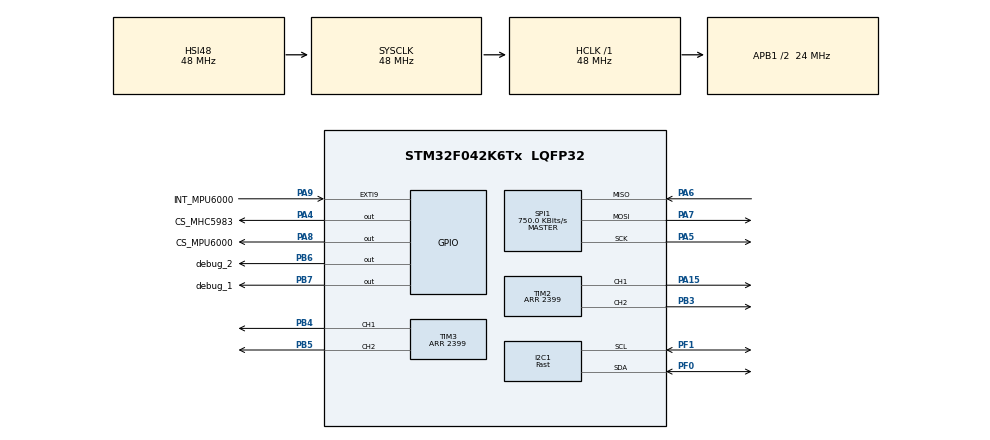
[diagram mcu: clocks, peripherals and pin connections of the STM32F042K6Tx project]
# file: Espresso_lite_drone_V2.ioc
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I2C1.GeneralCallMode=I2C_GENERALCALL_ENABLED
I2C1.I2C_Speed_Mode=I2C_Fast
I2C1.OwnAddress=55
I2C1.Speed=350
I2C1.Timing=0x0000050B
Mcu.Family=STM32F0
Mcu.Name=STM32F042K6Tx
Mcu.Package=LQFP32
NVIC.EXTI4_15_IRQn=true\:2\:0\:true
NVIC.I2C1_IRQn=true\:1\:0\:true
PA13.Mode=Serial-WireDebug
PA13.Signal=SYS_SWDIO
PA14.Mode=Serial-WireDebug
PA14.Signal=SYS_SWCLK
PA15.Signal=S_TIM2_CH1_ETR
PA4.GPIO_Label=CS_MHC5983
PA4.Signal=GPIO_Output
PA5.Mode=Full_Duplex_Master
PA5.Signal=SPI1_SCK
PA6.Mode=Full_Duplex_Master
PA6.Signal=SPI1_MISO
PA7.Mode=Full_Duplex_Master
PA7.Signal=SPI1_MOSI
PA8.GPIO_Label=CS_MPU6000
PA8.Signal=GPIO_Output
PA9.GPIO_Label=INT_MPU6000
PA9.GPIO_PuPd=GPIO_PULLUP
PA9.Signal=GPXTI9
PB3.Signal=S_TIM2_CH2
PB4.Signal=S_TIM3_CH1
PB5.Signal=S_TIM3_CH2
PB6.GPIO_Label=debug_2
PB6.Signal=GPIO_Output
PB7.GPIO_Label=debug_1
PB7.Signal=GPIO_Output
PF0-OSC_IN.Mode=I2C
PF0-OSC_IN.Signal=I2C1_SDA
PF1-OSC_OUT.Mode=I2C
PF1-OSC_OUT.Signal=I2C1_SCL
ProjectManager.HeapSize=0x400
ProjectManager.StackSize=0x200
ProjectManager.TargetToolchain=MDK-ARM V5
RCC.AHBFreq_Value=48000000
RCC.APB1CLKDivider=RCC_HCLK_DIV2
RCC.APB1Freq_Value=24000000
RCC.APB1TimFreq_Value=48000000
RCC.HCLKFreq_Value=48000000
RCC.SYSCLKFreq_VALUE=48000000
RCC.SYSCLKSource=RCC_SYSCLKSOURCE_HSI48
SH.S_TIM2_CH1_ETR.0=TIM2_CH1,PWM Generation1 CH1
SH.S_TIM2_CH2.0=TIM2_CH2,PWM Generation2 CH2
SH.S_TIM3_CH1.0=TIM3_CH1,PWM Generation1 CH1
SH.S_TIM3_CH2.0=TIM3_CH2,PWM Generation2 CH2
SPI1.BaudRatePrescaler=SPI_BAUDRATEPRESCALER_32
SPI1.CLKPhase=SPI_PHASE_2EDGE
SPI1.CLKPolarity=SPI_POLARITY_HIGH
SPI1.CalculateBaudRate=750.0 KBits/s
SPI1.DataSize=SPI_DATASIZE_8BIT
SPI1.Mode=SPI_MODE_MASTER
TIM2.Channel-PWM\ Generation2\ CH2=TIM_CHANNEL_2
TIM2.Period=2399
TIM3.Channel-PWM\ Generation2\ CH2=TIM_CHANNEL_2
TIM3.Period=2399
board=Espresso_lite_drone_V2

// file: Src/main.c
/**
  ******************************************************************************
  * File Name          : main.c
  * Description        : Main program body
  ******************************************************************************
  *
  * COPYRIGHT(c) 2016 STMicroelectronics
  *
  * Redistribution and use in source and binary forms, with or without modification,
  * are permitted provided that the following conditions are met:
  *   1. Redistributions of source code must retain the above copyright notice,
  *      this list of conditions and the following disclaimer.
  *   2. Redistributions in binary form must reproduce the above copyright notice,
  *      this list of conditions and the following disclaimer in the documentation
  *      and/or other materials provided with the distribution.
  *   3. Neither the name of STMicroelectronics nor the names of its contributors
  *      may be used to endorse or promote products derived from this software
  *      without specific prior written permission.
  *
  * THIS SOFTWARE IS PROVIDED BY THE COPYRIGHT HOLDERS AND CONTRIBUTORS "AS IS"
  * AND ANY EXPRESS OR IMPLIED WARRANTIES, INCLUDING, BUT NOT LIMITED TO, THE
  * IMPLIED WARRANTIES OF MERCHANTABILITY AND FITNESS FOR A PARTICULAR PURPOSE ARE
  * DISCLAIMED. IN NO EVENT SHALL THE COPYRIGHT HOLDER OR CONTRIBUTORS BE LIABLE
  * FOR ANY DIRECT, INDIRECT, INCIDENTAL, SPECIAL, EXEMPLARY, OR CONSEQUENTIAL
  * DAMAGES (INCLUDING, BUT NOT LIMITED TO, PROCUREMENT OF SUBSTITUTE GOODS OR
  * SERVICES; LOSS OF USE, DATA, OR PROFITS; OR BUSINESS INTERRUPTION) HOWEVER
  * CAUSED AND ON ANY THEORY OF LIABILITY, WHETHER IN CONTRACT, STRICT LIABILITY,
  * OR TORT (INCLUDING NEGLIGENCE OR OTHERWISE) ARISING IN ANY WAY OUT OF THE USE
  * OF THIS SOFTWARE, EVEN IF ADVISED OF THE POSSIBILITY OF SUCH DAMAGE.
  *
  ******************************************************************************
  */
#include "stm32f0xx_hal.h"

/* USER CODE BEGIN Includes */

// choose model drone
#define V929

// choose only one "MadgwickAHRS" or "MahonyAHRS"
//#define MadgwickAHRS
#define MahonyAHRS

#define ACCELEROMETER_SENSITIVITY   8192.0f
#define GYROSCOPE_SENSITIVITY       16.4f
#define Compass_SENSITIVITY       	1090.0f
#define M_PIf       								3.14159265358979323846f
#define M_PI                        M_PIf
#define sampleFreq                  250.0f     			    // 200 hz sample rate!
#define limmit_I                    300.0f

#define roll_offset    0.0f
#define pitch_offset   0.0f

#define debug_1_set		HAL_GPIO_WritePin(debug_1_GPIO_Port, debug_1_Pin, GPIO_PIN_SET)
#define debug_1_reset HAL_GPIO_WritePin(debug_1_GPIO_Port, debug_1_Pin, GPIO_PIN_RESET)
#define debug_2_set   HAL_GPIO_WritePin(debug_2_GPIO_Port, debug_2_Pin, GPIO_PIN_SET)
#define debug_2_reset HAL_GPIO_WritePin(debug_2_GPIO_Port, debug_2_Pin, GPIO_PIN_RESET)
//#define gx_diff 		0
//#define gy_diff 		0
//#define gz_diff 		0

//#define Kp_yaw      3.5f
//#define Ki_yaw      0.001f
//#define Kd_yaw      0.0f

//#define Kp_pitch		16.0f
//#define Ki_pitch    0.001f
//#define Kd_pitch    9.0f

//#define Kp_roll	    Kp_pitch
//#define Ki_roll  		Ki_pitch
//#define Kd_roll  		Kd_pitch

#define ENABLE_MPU6000  HAL_GPIO_WritePin(CS_MPU6000_GPIO_Port, CS_MPU6000_Pin, GPIO_PIN_RESET)
#define DISABLE_MPU6000 HAL_GPIO_WritePin(CS_MPU6000_GPIO_Port, CS_MPU6000_Pin, GPIO_PIN_SET)

#define ENABLE_HMC5983  HAL_GPIO_WritePin(CS_MHC5983_GPIO_Port, CS_MHC5983_Pin, GPIO_PIN_RESET)
#define DISABLE_HMC5983 HAL_GPIO_WritePin(CS_MHC5983_GPIO_Port, CS_MHC5983_Pin, GPIO_PIN_SET)

#define MPU6000_SPI &hspi1
#define HMC5983_SPI &hspi1

#define i2c_buffer_size 96

#define ARM_MATH_CM0
//#include "arm_math.h"
#include "math.h"
#include "MPU6000.h"
#include "HMC5983.h"
/* USER CODE END Includes */

I2C_HandleTypeDef hi2c1;

SPI_HandleTypeDef hspi1;

TIM_HandleTypeDef htim2;
TIM_HandleTypeDef htim3;

/* USER CODE BEGIN PV */
/* Private variables ---------------------------------------------------------*/

int16_t rawMagx_X = 1;
int16_t rawMagx_Y = 1;
int16_t rawMagx_Z = 1;
int16_t rawAccx_X = 1;
int16_t rawAccx_Y = 1;
int16_t rawAccx_Z = 1;
int16_t rawGyrox_X = 1;
int16_t rawGyrox_Y = 1;
int16_t rawGyrox_Z = 1;

volatile uint8_t Flag_setPID_gain_success = 0;
volatile int16_t magneticDeclination = 0;
volatile float Ref_yaw=0, Ref_pitch=0, Ref_roll=0 ;
volatile int16_t q_yaw, q_pitch, q_roll;                               		// States value
volatile float beta = 0.15f   ;
volatile float q0=1, q1=0, q2=0, q3=0;
volatile float T_center =0, yaw_center=0;
volatile float Error_yaw=0, Errer_pitch=0, Error_roll=0; 								//States Error
volatile float Sum_Error_yaw=0, Sum_Error_pitch=0, Sum_Error_roll=0;     // Sum of error
volatile float D_Error_yaw=0, D_Error_pitch=0, D_Error_roll=0; 					// error dot
volatile float Del_yaw=0, Del_pitch=0, Del_roll=0;												// Delta states value for rotate axis
volatile float t_compensate = 0;
volatile float T_center_minus = 0;
volatile float y_roll=0, y_pitch=0, y0_roll=0, y0_pitch=0 ;
volatile float rMat[3][3] = {0};

volatile float Kp_roll = 0;
volatile float Ki_roll = 0;
volatile float Kd_roll = 0;

volatile float Kp_pitch = 0;
volatile float Ki_pitch = 0;
volatile float Kd_pitch = 0;

volatile float Kp_yaw = 0;
volatile float Ki_yaw = 0;
volatile float Kd_yaw = 0;

#ifdef V929
// prototype
int16_t gx_diff = -54;
int16_t gy_diff = 20;
int16_t gz_diff = -8;
int16_t ax_diff = 76;
int16_t ay_diff = 114;
int16_t az_diff = 0;
#else
int16_t gx_diff = -22;
int16_t gy_diff = 72;
int16_t gz_diff = -56;
int16_t ax_diff = 33;
int16_t ay_diff = -297;
int16_t az_diff = 0;
#endif

volatile uint8_t  I2C_rx_buffer = 0;
volatile uint8_t  I2C_rx_data[i2c_buffer_size] = {0};
volatile uint8_t  I2C_rx_data_index = 0;

uint16_t watchdog  = 0;
int16_t xxx = 0;
/* USER CODE for SPPM Receiver  */

volatile uint8_t	index= 0 ;
volatile float	ch1=0,ch2=0,ch3=0,ch4=0;
volatile int16_t	_ch1=0,_ch2=0,_ch3=0,_ch4=0;
volatile int16_t	motor_A=0, motor_B=0, motor_C=0, motor_D=0 ;// Motors output value
uint8_t rx_tmp[14] = {0};
float T_center_buffer = 0;
volatile float a, b, c, d, e, f;
/* USER CODE END PV */

void SystemClock_Config(void);
static void MX_GPIO_Init(void);
static void MX_I2C1_Init(void);
static void MX_SPI1_Init(void);
static void MX_TIM2_Init(void);
static void MX_TIM3_Init(void);

void HAL_TIM_MspPostInit(TIM_HandleTypeDef *htim);

/* USER CODE BEGIN PFP */
/* Private function prototypes -----------------------------------------------*/

void initMPU6000(void);
void initHMC5983(void);
void Read_MPU6000(void);
void Read_HMC5983(void);
void PID_controller(void);
void Drive_motor_output(void);
void Interrupt_call(void);
void AHRS(void);
float Smooth_filter(float alfa, float new_data, float prev_data);
float invSqrt(float x) ;
void imuComputeRotationMatrix(void);
float sq(float x);
float constrain(float x, float lower_b, float upper_b);
void getPIDgain(uint8_t I2C_rx_data_index);
void getRCcommand(uint8_t I2C_rx_data_index);
void fn_I2C_SlaveRxCpltCallback(void);
void readCommand (void);

/* USER CODE END PFP */

int main(void)
{

  /* MCU Configuration----------------------------------------------------------*/

  /* Reset of all peripherals, Initializes the Flash interface and the Systick. */
  HAL_Init();

  /* Configure the system clock */
  SystemClock_Config();

  /* Initialize all configured peripherals */
  MX_GPIO_Init();
  MX_I2C1_Init();
  MX_SPI1_Init();
  MX_TIM2_Init();
  MX_TIM3_Init();

  /* USER CODE BEGIN 2 */
	HAL_NVIC_DisableIRQ(EXTI4_15_IRQn);

	DISABLE_HMC5983;
	DISABLE_MPU6000;

	initMPU6000();
	initHMC5983();

	HAL_TIM_PWM_Start(&htim2,TIM_CHANNEL_1);
	HAL_TIM_PWM_Start(&htim2,TIM_CHANNEL_2);
	HAL_TIM_PWM_Start(&htim3,TIM_CHANNEL_1);
	HAL_TIM_PWM_Start(&htim3,TIM_CHANNEL_2);

	HAL_I2C_Slave_Receive_IT(&hi2c1, (uint8_t*)(I2C_rx_data+I2C_rx_data_index), 1);
  HAL_Delay(10);
	HAL_NVIC_EnableIRQ(EXTI4_15_IRQn);

  /* USER CODE END 2 */

  /* Infinite loop */
  while (1)
  {

  /* USER CODE BEGIN 3 */
    if (watchdog > 0) watchdog --;

		if(watchdog == 0)
		{
			TIM2->CCR1 = 0 ;
			TIM2->CCR2 = 0 ;
			TIM3->CCR1 = 0 ;
			TIM3->CCR2 = 0 ;
		}
		HAL_Delay(10);
//    motor_A = 100;
//		Drive_motor_output();
//		HAL_Delay(10);
//		Read_HMC5983();
//		HAL_Delay(10);
//
//
//		Interrupt_call();
//		HAL_Delay(5);
  }
  /* USER CODE END 3 */

}

/** System Clock Configuration
*/
void SystemClock_Config(void)
{

  RCC_OscInitTypeDef RCC_OscInitStruct;
  RCC_ClkInitTypeDef RCC_ClkInitStruct;
  RCC_PeriphCLKInitTypeDef PeriphClkInit;

  RCC_OscInitStruct.OscillatorType = RCC_OSCILLATORTYPE_HSI|RCC_OSCILLATORTYPE_HSI48;
  RCC_OscInitStruct.HSIState = RCC_HSI_ON;
  RCC_OscInitStruct.HSI48State = RCC_HSI48_ON;
  RCC_OscInitStruct.HSICalibrationValue = 16;
  RCC_OscInitStruct.PLL.PLLState = RCC_PLL_NONE;
  HAL_RCC_OscConfig(&RCC_OscInitStruct);

  RCC_ClkInitStruct.ClockType = RCC_CLOCKTYPE_HCLK|RCC_CLOCKTYPE_SYSCLK
                              |RCC_CLOCKTYPE_PCLK1;
  RCC_ClkInitStruct.SYSCLKSource = RCC_SYSCLKSOURCE_HSI48;
  RCC_ClkInitStruct.AHBCLKDivider = RCC_SYSCLK_DIV1;
  RCC_ClkInitStruct.APB1CLKDivider = RCC_HCLK_DIV2;
  HAL_RCC_ClockConfig(&RCC_ClkInitStruct, FLASH_LATENCY_1);

  PeriphClkInit.PeriphClockSelection = RCC_PERIPHCLK_I2C1;
  PeriphClkInit.I2c1ClockSelection = RCC_I2C1CLKSOURCE_HSI;
  HAL_RCCEx_PeriphCLKConfig(&PeriphClkInit);

  HAL_SYSTICK_Config(HAL_RCC_GetHCLKFreq()/1000);

  HAL_SYSTICK_CLKSourceConfig(SYSTICK_CLKSOURCE_HCLK);

  /* SysTick_IRQn interrupt configuration */
  HAL_NVIC_SetPriority(SysTick_IRQn, 0, 0);
}

/* I2C1 init function */
void MX_I2C1_Init(void)
{

  hi2c1.Instance = I2C1;
  hi2c1.Init.Timing = 0x0000050B;
  hi2c1.Init.OwnAddress1 = 110;
  hi2c1.Init.AddressingMode = I2C_ADDRESSINGMODE_7BIT;
  hi2c1.Init.DualAddressMode = I2C_DUALADDRESS_DISABLED;
  hi2c1.Init.OwnAddress2 = 0;
  hi2c1.Init.OwnAddress2Masks = I2C_OA2_NOMASK;
  hi2c1.Init.GeneralCallMode = I2C_GENERALCALL_ENABLED;
  hi2c1.Init.NoStretchMode = I2C_NOSTRETCH_DISABLED;
  HAL_I2C_Init(&hi2c1);

    /**Configure Analogue filter
    */
  HAL_I2CEx_AnalogFilter_Config(&hi2c1, I2C_ANALOGFILTER_ENABLED);

}

/* SPI1 init function */
void MX_SPI1_Init(void)
{

  hspi1.Instance = SPI1;
  hspi1.Init.Mode = SPI_MODE_MASTER;
  hspi1.Init.Direction = SPI_DIRECTION_2LINES;
  hspi1.Init.DataSize = SPI_DATASIZE_8BIT;
  hspi1.Init.CLKPolarity = SPI_POLARITY_HIGH;
  hspi1.Init.CLKPhase = SPI_PHASE_2EDGE;
  hspi1.Init.NSS = SPI_NSS_SOFT;
  hspi1.Init.BaudRatePrescaler = SPI_BAUDRATEPRESCALER_32;
  hspi1.Init.FirstBit = SPI_FIRSTBIT_MSB;
  hspi1.Init.TIMode = SPI_TIMODE_DISABLED;
  hspi1.Init.CRCCalculation = SPI_CRCCALCULATION_DISABLED;
  hspi1.Init.CRCPolynomial = 7;
  hspi1.Init.CRCLength = SPI_CRC_LENGTH_DATASIZE;
  hspi1.Init.NSSPMode = SPI_NSS_PULSE_DISABLED;
  HAL_SPI_Init(&hspi1);

}

/* TIM2 init function */
void MX_TIM2_Init(void)
{

  TIM_MasterConfigTypeDef sMasterConfig;
  TIM_OC_InitTypeDef sConfigOC;

  htim2.Instance = TIM2;
  htim2.Init.Prescaler = 0;
  htim2.Init.CounterMode = TIM_COUNTERMODE_UP;
  htim2.Init.Period = 2399;
  htim2.Init.ClockDivision = TIM_CLOCKDIVISION_DIV1;
  HAL_TIM_PWM_Init(&htim2);

  sMasterConfig.MasterOutputTrigger = TIM_TRGO_RESET;
  sMasterConfig.MasterSlaveMode = TIM_MASTERSLAVEMODE_DISABLE;
  HAL_TIMEx_MasterConfigSynchronization(&htim2, &sMasterConfig);

  sConfigOC.OCMode = TIM_OCMODE_PWM1;
  sConfigOC.Pulse = 0;
  sConfigOC.OCPolarity = TIM_OCPOLARITY_HIGH;
  sConfigOC.OCFastMode = TIM_OCFAST_DISABLE;
  HAL_TIM_PWM_ConfigChannel(&htim2, &sConfigOC, TIM_CHANNEL_1);

  HAL_TIM_PWM_ConfigChannel(&htim2, &sConfigOC, TIM_CHANNEL_2);

  HAL_TIM_MspPostInit(&htim2);

}

/* TIM3 init function */
void MX_TIM3_Init(void)
{

  TIM_MasterConfigTypeDef sMasterConfig;
  TIM_OC_InitTypeDef sConfigOC;

  htim3.Instance = TIM3;
  htim3.Init.Prescaler = 0;
  htim3.Init.CounterMode = TIM_COUNTERMODE_UP;
  htim3.Init.Period = 2399;
  htim3.Init.ClockDivision = TIM_CLOCKDIVISION_DIV1;
  HAL_TIM_PWM_Init(&htim3);

  sMasterConfig.MasterOutputTrigger = TIM_TRGO_RESET;
  sMasterConfig.MasterSlaveMode = TIM_MASTERSLAVEMODE_DISABLE;
  HAL_TIMEx_MasterConfigSynchronization(&htim3, &sMasterConfig);

  sConfigOC.OCMode = TIM_OCMODE_PWM1;
  sConfigOC.Pulse = 0;
  sConfigOC.OCPolarity = TIM_OCPOLARITY_HIGH;
  sConfigOC.OCFastMode = TIM_OCFAST_DISABLE;
  HAL_TIM_PWM_ConfigChannel(&htim3, &sConfigOC, TIM_CHANNEL_1);

  HAL_TIM_PWM_ConfigChannel(&htim3, &sConfigOC, TIM_CHANNEL_2);

  HAL_TIM_MspPostInit(&htim3);

}

/** Configure pins as
        * Analog
        * Input
        * Output
        * EVENT_OUT
        * EXTI
*/
void MX_GPIO_Init(void)
{

  GPIO_InitTypeDef GPIO_InitStruct;

  /* GPIO Ports Clock Enable */
  __GPIOF_CLK_ENABLE();
  __GPIOA_CLK_ENABLE();
  __GPIOB_CLK_ENABLE();

  /*Configure GPIO pin Output Level */
  HAL_GPIO_WritePin(GPIOA, CS_MHC5983_Pin|CS_MPU6000_Pin, GPIO_PIN_RESET);

  /*Configure GPIO pin Output Level */
  HAL_GPIO_WritePin(GPIOB, debug_2_Pin|debug_1_Pin, GPIO_PIN_RESET);

  /*Configure GPIO pins : CS_MHC5983_Pin CS_MPU6000_Pin */
  GPIO_InitStruct.Pin = CS_MHC5983_Pin|CS_MPU6000_Pin;
  GPIO_InitStruct.Mode = GPIO_MODE_OUTPUT_PP;
  GPIO_InitStruct.Pull = GPIO_NOPULL;
  GPIO_InitStruct.Speed = GPIO_SPEED_LOW;
  HAL_GPIO_Init(GPIOA, &GPIO_InitStruct);

  /*Configure GPIO pin : INT_MPU6000_Pin */
  GPIO_InitStruct.Pin = INT_MPU6000_Pin;
  GPIO_InitStruct.Mode = GPIO_MODE_IT_RISING;
  GPIO_InitStruct.Pull = GPIO_PULLUP;
  HAL_GPIO_Init(INT_MPU6000_GPIO_Port, &GPIO_InitStruct);

  /*Configure GPIO pins : debug_2_Pin debug_1_Pin */
  GPIO_InitStruct.Pin = debug_2_Pin|debug_1_Pin;
  GPIO_InitStruct.Mode = GPIO_MODE_OUTPUT_PP;
  GPIO_InitStruct.Pull = GPIO_NOPULL;
  GPIO_InitStruct.Speed = GPIO_SPEED_LOW;
  HAL_GPIO_Init(GPIOB, &GPIO_InitStruct);

  /* EXTI interrupt init*/
  HAL_NVIC_SetPriority(EXTI4_15_IRQn, 2, 0);
  HAL_NVIC_EnableIRQ(EXTI4_15_IRQn);

}

/* USER CODE BEGIN 4 */
void initMPU6000(void)
{
		uint8_t tmp = 0;
    DISABLE_MPU6000;

    HAL_Delay(150);

    ENABLE_MPU6000;
		tmp = MPU6000_PWR_MGMT_1;
    HAL_SPI_Transmit(MPU6000_SPI, &tmp, 1, 10);          // Device Reset
    tmp = BIT_H_RESET;
    HAL_SPI_Transmit(MPU6000_SPI, &tmp, 1, 10);
    DISABLE_MPU6000;

    HAL_Delay(150);

    ENABLE_MPU6000;
    tmp = MPU6000_PWR_MGMT_1;
    HAL_SPI_Transmit(MPU6000_SPI, &tmp, 1, 10);          // Clock Source PPL with Z axis gyro reference
    tmp = MPU_CLK_SEL_PLLGYROZ;
    HAL_SPI_Transmit(MPU6000_SPI, &tmp, 1, 10);
    DISABLE_MPU6000;

    HAL_Delay(1);

    ENABLE_MPU6000;
    tmp = MPU6000_USER_CTRL;
    HAL_SPI_Transmit(MPU6000_SPI, &tmp, 1, 10);           // Disable Primary I2C Interface
    tmp = BIT_I2C_IF_DIS;
    HAL_SPI_Transmit(MPU6000_SPI, &tmp, 1, 10);
    DISABLE_MPU6000;

    HAL_Delay(1);

    ENABLE_MPU6000;
    tmp = MPU6000_ACCEL_CONFIG;
    HAL_SPI_Transmit(MPU6000_SPI, &tmp, 1, 10);        // Accel +/- 4 G Full Scale
    tmp = BITS_FS_8G;
    HAL_SPI_Transmit(MPU6000_SPI, &tmp, 1, 10);
    DISABLE_MPU6000;

    HAL_Delay(1);

    ENABLE_MPU6000;
    tmp = MPU6000_GYRO_CONFIG;
    HAL_SPI_Transmit(MPU6000_SPI, &tmp, 1, 10);         // Gyro +/- 500 DPS Full Scale
    tmp = BITS_FS_2000DPS;
    HAL_SPI_Transmit(MPU6000_SPI, &tmp, 1, 10);
    DISABLE_MPU6000;

    HAL_Delay(1);

    ENABLE_MPU6000;
    tmp = MPU6000_CONFIG;
    HAL_SPI_Transmit(MPU6000_SPI, &tmp, 1, 10);       // Accel and Gyro DLPF Setting
    tmp = BITS_DLPF_CFG_42HZ;
    HAL_SPI_Transmit(MPU6000_SPI, &tmp, 1, 10);
    DISABLE_MPU6000;

    HAL_Delay(1);

    ENABLE_MPU6000;
    tmp = MPU6000_SMPLRT_DIV;
    HAL_SPI_Transmit(MPU6000_SPI, &tmp, 1, 10);          // Accel & Gyro Sample Rate 250 Hz
    tmp = 0x03;
    HAL_SPI_Transmit(MPU6000_SPI, &tmp, 1, 10);
    DISABLE_MPU6000;

    HAL_Delay(1);

    ENABLE_MPU6000;
    tmp = MPU6000_INT_ENABLE;
    HAL_SPI_Transmit(MPU6000_SPI, &tmp, 1, 10);          // DATA_RDY_EN
    tmp = 0x01;
    HAL_SPI_Transmit(MPU6000_SPI, &tmp, 1, 10);
    DISABLE_MPU6000;

    HAL_Delay(100);
}

void initHMC5983(void)
{
		uint8_t tmp = 0;
    DISABLE_HMC5983;

    HAL_Delay(150);

    ENABLE_HMC5983;
		tmp = 0x00;
    HAL_SPI_Transmit(HMC5983_SPI, &tmp, 1, 10);          // Write Configuration Register A
    tmp = 0x70 ;
    HAL_SPI_Transmit(HMC5983_SPI, &tmp, 1, 10);
    DISABLE_HMC5983;

		HAL_Delay(1);

    ENABLE_HMC5983;
		tmp = 0x01;
    HAL_SPI_Transmit(HMC5983_SPI, &tmp, 1, 10);          // Write Configuration Register B
    tmp = 0x20;
    HAL_SPI_Transmit(HMC5983_SPI, &tmp, 1, 10);
    DISABLE_HMC5983;

		HAL_Delay(1);

		ENABLE_HMC5983;
		tmp = 0x02;
    HAL_SPI_Transmit(HMC5983_SPI, &tmp, 1, 10);          // Write Mode Register
    tmp = 0x00;
    HAL_SPI_Transmit(HMC5983_SPI, &tmp, 1, 10);
    DISABLE_HMC5983;

    HAL_Delay(100);
}

void Read_MPU6000(void)
{
	  ENABLE_MPU6000;
    uint8_t tmp = 0x3b | 0x80;
    HAL_SPI_Transmit(MPU6000_SPI, &tmp, 1, 10);          // DATA_RDY_EN
    HAL_SPI_Receive(MPU6000_SPI, rx_tmp, 14, 10);
    DISABLE_MPU6000;

		rawAccx_X  =  ((int16_t)rx_tmp[0])<<8 | (int16_t)rx_tmp[1];
		rawAccx_Y  =  ((int16_t)rx_tmp[2])<<8 | (int16_t)rx_tmp[3];
		rawAccx_Z  =  ((int16_t)rx_tmp[4])<<8 | (int16_t)rx_tmp[5];
		rawGyrox_X = ((int16_t)rx_tmp[8] )<<8 | (int16_t)rx_tmp[9];
		rawGyrox_Y = ((int16_t)rx_tmp[10])<<8 | (int16_t)rx_tmp[11];
		rawGyrox_Z = ((int16_t)rx_tmp[12])<<8 | (int16_t)rx_tmp[13];

	  beta = 0.2f;
	  if (T_center < 40)
		{
			a = Smooth_filter(0.001f, rawGyrox_X, a);
			b = Smooth_filter(0.001f, rawGyrox_Y, b);
			c = Smooth_filter(0.001f, rawGyrox_Z, c);
			d = Smooth_filter(0.001f, rawAccx_X, d);
			e = Smooth_filter(0.001f, rawAccx_Y, e);
			f = Smooth_filter(0.001f, rawAccx_Z, f);
			beta =  2.0f;
		}

		rawGyrox_X -= gx_diff;
		rawGyrox_Y -= gy_diff;
		rawGyrox_Z -= gz_diff;

		rawAccx_X -= ax_diff;
		rawAccx_Y -= ay_diff;

}

void Read_HMC5983(void)
{

	ENABLE_HMC5983;
	uint8_t tmp = 0x03 | 0xC0;
	HAL_SPI_Transmit(HMC5983_SPI, &tmp, 1, 10);          // Write Mode Register
	HAL_SPI_Receive(HMC5983_SPI, rx_tmp, 6, 10);
	DISABLE_HMC5983;

	int16_t _rawMagx_X =  ((int16_t)rx_tmp[0])<<8 | (int16_t)rx_tmp[1];
	int16_t _rawMagx_Y =  ((int16_t)rx_tmp[2])<<8 | (int16_t)rx_tmp[3];
	int16_t _rawMagx_Z =  ((int16_t)rx_tmp[4])<<8 | (int16_t)rx_tmp[5];

	if (rawMagx_X == -4096 || rawMagx_Y == -4096 || rawMagx_Z == -4096)
	{
		rawMagx_X = 1;
		rawMagx_Y = 1;
		rawMagx_Z = 1;
	}
	else
	{
		rawMagx_X = _rawMagx_X;
		rawMagx_Y = _rawMagx_Y;
		rawMagx_Z = _rawMagx_Z;
	}
}
void PID_controller(void)
{

	float Buf_D_Error_yaw   =Error_yaw;
	float Buf_D_Errer_pitch =Errer_pitch;
	float Buf_D_Error_roll  =Error_roll;

	static float cal_pitch ;
	static float cal_roll  ;

	cal_pitch = Smooth_filter(0.7f, q_pitch*0.1f, cal_pitch);
	cal_roll = Smooth_filter(0.7f, q_roll*0.1f, cal_roll);

	T_center_buffer    = (float)ch3 *   20.0f;

	T_center = Smooth_filter(0.35f, T_center_buffer, T_center);

	//Error_yaw 	= (float)ch4 * 3.0f   -  (float)q_yaw/10.0f;
#ifdef V929
	Error_yaw 	=  -(float)ch4 * 3.0f   - ((float)rawGyrox_Z)/GYROSCOPE_SENSITIVITY;
	Errer_pitch =  -(float)ch2 * 0.3f - ((float)cal_pitch)	;
	Error_roll 	=  -(float)ch1 * 0.3f + ((float)cal_roll)	;
#else
	Error_yaw 	=  (float)ch4 * 3.0f   + ((float)rawGyrox_Z)/GYROSCOPE_SENSITIVITY;
	Errer_pitch = -(float)ch2 * 0.25f - ((float)cal_pitch)	;
	Error_roll 	= -(float)ch1 * 0.25f + ((float)cal_roll)	;
#endif
  // protect  wind-up

if (T_center	> 500){
	Sum_Error_yaw =   constrain((Sum_Error_yaw   + (Error_yaw   /sampleFreq)), -100.0f , 100.0f) ;
	Sum_Error_pitch = constrain((Sum_Error_pitch + (Errer_pitch /sampleFreq)), -100.0f , 100.0f) ;
	Sum_Error_roll =  constrain((Sum_Error_roll  + (Error_roll  /sampleFreq)), -100.0f , 100.0f) ;
}

	D_Error_yaw =  (Error_yaw-Buf_D_Error_yaw)    *sampleFreq ;
	D_Error_pitch =(Errer_pitch-Buf_D_Errer_pitch)*sampleFreq;
	D_Error_roll = (Error_roll-Buf_D_Error_roll)  *sampleFreq;

	Del_yaw		= (Kp_yaw   * Error_yaw)		+ (Ki_yaw	  * Sum_Error_yaw)   + constrain((Kd_yaw * D_Error_yaw), -1500, 1500);
	Del_pitch	= (Kp_pitch * Errer_pitch)	+ (Ki_pitch	* Sum_Error_pitch) + constrain((Kd_pitch * D_Error_pitch), -1500, 1500);
	Del_roll	= (Kp_roll  * Error_roll)		+ (Ki_roll	* Sum_Error_roll)  + constrain((Kd_roll * D_Error_roll), -1500, 1500);

	motor_A = T_center +Del_pitch	+Del_roll +Del_yaw;
	motor_B = T_center +Del_pitch	-Del_roll -Del_yaw;
	motor_C = T_center -Del_pitch	-Del_roll +Del_yaw;
	motor_D = T_center -Del_pitch	+Del_roll -Del_yaw;

//	Del_yaw		= (Kp_yaw   * Error_yaw)		+ (Ki_yaw	  * Sum_Error_yaw)   + constrain((Kd_yaw * D_Error_yaw), -1000, 1000);
//	Del_pitch	= (Kp_pitch * Errer_pitch)	+ (Ki_pitch	* Sum_Error_pitch) + constrain((Kd_pitch * D_Error_pitch), -1000, 1000);
//	Del_roll	= (Kp_roll  * Error_roll)		+ (Ki_roll	* Sum_Error_roll)  + constrain((Kd_roll * D_Error_roll), -1000, 1000);

//	motor_A = T_center + constrain((+Del_pitch	+Del_roll +Del_yaw), -1250, 1250);
//	motor_B = T_center + constrain((+Del_pitch	-Del_roll -Del_yaw), -1250, 1250) ;
//	motor_C = T_center + constrain((-Del_pitch	-Del_roll +Del_yaw), -1250, 1250) ;
//	motor_D = T_center + constrain((-Del_pitch	+Del_roll -Del_yaw), -1250, 1250) ;

}

void Drive_motor_output(void)
{

  //motor_A = 100 ;
	//motor_B = 100 ;
	//motor_C = 100 ;
	//motor_D = 100 ;

	// limmit output max, min
	if(motor_A < 0) motor_A = 0 ;
	if(motor_B < 0) motor_B = 0 ;
	if(motor_C < 0) motor_C = 0 ;
	if(motor_D < 0) motor_D = 0 ;

	if(motor_A > 2399) motor_A = 2399 ;
	if(motor_B > 2399) motor_B = 2399 ;
	if(motor_C > 2399) motor_C = 2399 ;
	if(motor_D > 2399) motor_D = 2399 ;

#ifdef V929 //
	TIM2->CCR1 = motor_B ;
	TIM2->CCR2 = motor_C ;
	TIM3->CCR1 = motor_D ;
	TIM3->CCR2 = motor_A ;
#else
	TIM2->CCR1 = motor_D ;
	TIM2->CCR2 = motor_A ;
	TIM3->CCR1 = motor_B ;
	TIM3->CCR2 = motor_C ;
#endif
}

void Interrupt_call(void)
{

	debug_1_set;

			/* Read data from sensor */
		Read_MPU6000();
		//Read_HMC5983();

		AHRS();
		/* Controller */
		PID_controller();

    if (watchdog > 0) watchdog --;
		if((T_center < 30) || (watchdog == 0))
		//if((T_center < 50) || (watchdog == 0) || Flag_setPID_gain_success == 0)
		{

//			gx_diff = a;
//			gy_diff = b;
//			gx_diff = c;

//			Sum_Error_yaw=0;
//			Sum_Error_pitch=0;
//			Sum_Error_roll=0;

			motor_A=0;
			motor_B=0;
			motor_C=0;
			motor_D=0;
		}

		Drive_motor_output();

		debug_1_reset;

}
#ifdef MadgwickAHRS
void AHRS()
{
	  float dt = 0.004f;
		float gx = (((float)rawGyrox_X)/GYROSCOPE_SENSITIVITY)*(M_PIf/180.0f);
		float gy = -(((float)rawGyrox_Y)/GYROSCOPE_SENSITIVITY)*(M_PIf/180.0f);
		float gz = (((float)rawGyrox_Z)/GYROSCOPE_SENSITIVITY)*(M_PIf/180.0f);
		float ax = -((float)rawAccx_X)/ACCELEROMETER_SENSITIVITY;
		float ay = ((float)rawAccx_Y)/ACCELEROMETER_SENSITIVITY;
		float az = ((float)rawAccx_Z)/ACCELEROMETER_SENSITIVITY;
    float my =-((float)rawMagx_X)/Compass_SENSITIVITY;
		float mx =-((float)rawMagx_Y)/Compass_SENSITIVITY;
		float mz =-((float)rawMagx_Z)/Compass_SENSITIVITY;

//		gx = 0;
//		gy = 0;
//		gz = 0;
//		ax = 0;
//		ay = 0;
//		az = 0;
//    mx = ((float)rawMagx_X)/Compass_SENSITIVITY;
//		my = ((float)rawMagx_Y)/Compass_SENSITIVITY;
//		mz = ((float)rawMagx_Z)/Compass_SENSITIVITY;

    float Norm;

    float q0_dot = 0.5 * (-q1 * gx - q2 * gy - q3 * gz);
		float q1_dot = 0.5 * ( q0 * gx + q2 * gz - q3 * gy);
		float q2_dot = 0.5 * ( q0 * gy - q1 * gz + q3 * gx);
		float q3_dot = 0.5 * ( q0 * gz + q1 * gy - q2 * gx);

		if(!((ax == 0) && (ay == 0) && (az == 0)))
		{
			// Normalise
			Norm = sqrtf(ax * ax + ay * ay + az * az);
			ax /= Norm;
			ay /= Norm;
			az /= Norm;

			float _2q0 = 2 * q0;
			float _2q1 = 2 * q1;
			float _2q2 = 2 * q2;
			float _2q3 = 2 * q3;
			float _4q0 = 4 * q0;
			float _4q1 = 4 * q1;
			float _4q2 = 4 * q2;
			float _8q1 = 8 * q1;
			float _8q2 = 8 * q2;
			float q0q0 = q0 * q0;
			float q1q1 = q1 * q1;
			float q2q2 = q2 * q2;
			float q3q3 = q3 * q3;
			// Gradient decent
			float s0 = _4q0 * q2q2 + _2q2 * ax + _4q0 * q1q1 - _2q1 * ay;
		  float s1 = _4q1 * q3q3 - _2q3 * ax + 4.0f * q0q0 * q1 - _2q0 * ay - _4q1 + _8q1 * q1q1 + _8q1 * q2q2 + _4q1 * az;
			float s2 = 4.0f * q0q0 * q2 + _2q0 * ax + _4q2 * q3q3 - _2q3 * ay - _4q2 + _8q2 * q1q1 + _8q2 * q2q2 + _4q2 * az;
		  float s3 = 4.0f * q1q1 * q3 - _2q1 * ax + 4.0f * q2q2 * q3 - _2q2 * ay;
			// Normalise
			Norm = sqrtf(s1 * s1 + s2 * s2 + s3 * s3 + s0 * s0); // normalise step magnitude
			s1 /= Norm;
			s2 /= Norm;
			s3 /= Norm;
			s0 /= Norm;
			// compensate acc
			q0_dot -= (beta * s0);
			q1_dot -= (beta * s1);
			q2_dot -= (beta * s2);
			q3_dot -= (beta * s3);
		}
		// Integrate
		q0 += q0_dot * dt;
		q1 += q1_dot * dt;
		q2 += q2_dot * dt;
		q3 += q3_dot * dt;
		// Normalise
		Norm = sqrtf(q1 * q1 + q2 * q2 + q3 * q3 + q0 * q0 );
		q1 /= Norm;
		q2 /= Norm;
		q3 /= Norm;
		q0 /= Norm;

    // Pre-compute rotation matrix from quaternion
    imuComputeRotationMatrix();

		/* Compute pitch/roll angles */

#ifdef V929
    q_pitch =  -(atan2f(rMat[2][1], rMat[2][2]) * (1800.0f / M_PIf));
    q_roll  =  (((0.5f * M_PIf) - acosf(-rMat[2][0])) * (1800.0f / M_PIf));
    q_yaw   =  ((atan2f(rMat[1][0], rMat[0][0]) * (1800.0f / M_PIf) + magneticDeclination));
#else
    q_pitch =  (atan2f(rMat[2][1], rMat[2][2]) * (1800.0f / M_PIf));
    q_roll  =  (((0.5f * M_PIf) - acosf(-rMat[2][0])) * (1800.0f / M_PIf));
    q_yaw   =  ((atan2f(rMat[1][0], rMat[0][0]) * (1800.0f / M_PIf) + magneticDeclination));
#endif
		if (q_yaw < 0) q_yaw += 3600;
}
#endif
#ifdef MahonyAHRS
void AHRS()
{
	  float dt = 0.004f;
		float gx = (((float)rawGyrox_X)/GYROSCOPE_SENSITIVITY)*(M_PIf/180.0f);
		float gy = (((float)rawGyrox_Y)/GYROSCOPE_SENSITIVITY)*(M_PIf/180.0f);
		float gz = (((float)rawGyrox_Z)/GYROSCOPE_SENSITIVITY)*(M_PIf/180.0f);
		float ax = ((float)rawAccx_X)/ACCELEROMETER_SENSITIVITY;
		float ay = ((float)rawAccx_Y)/ACCELEROMETER_SENSITIVITY;
		float az = ((float)rawAccx_Z)/ACCELEROMETER_SENSITIVITY;
    float my =-((float)rawMagx_X)/Compass_SENSITIVITY;
		float mx =-((float)rawMagx_Y)/Compass_SENSITIVITY;
		float mz =-((float)rawMagx_Z)/Compass_SENSITIVITY;

//		gx = 0;
//		gy = 0;
//		gz = 0;
//		ax = 0;
//		ay = 0;
//		az = 0;
//    mx = ((float)rawMagx_X)/Compass_SENSITIVITY;
//		my = ((float)rawMagx_Y)/Compass_SENSITIVITY;
//		mz = ((float)rawMagx_Z)/Compass_SENSITIVITY;

		static uint8_t useMag = 0;
		static uint8_t useAcc = 1;
    float recipNorm;
    float hx, hy, bx;
    float ex = 0, ey = 0, ez = 0;
    float qa, qb, qc;

    // Use measured magnetic field vector
    recipNorm = sq(mx) + sq(my) + sq(mz);
    if (useMag && (recipNorm > 0.01f)) {
        // Normalise magnetometer measurement
        recipNorm = invSqrt(recipNorm);
        mx *= recipNorm;
        my *= recipNorm;
        mz *= recipNorm;

        // For magnetometer correction we make an assumption that magnetic field is perpendicular to gravity (ignore Z-component in EF).
        // This way magnetic field will only affect heading and wont mess roll/pitch angles

        // (hx; hy; 0) - measured mag field vector in EF (assuming Z-component is zero)
        // (bx; 0; 0) - reference mag field vector heading due North in EF (assuming Z-component is zero)
        hx = rMat[0][0] * mx + rMat[0][1] * my + rMat[0][2] * mz;
        hy = rMat[1][0] * mx + rMat[1][1] * my + rMat[1][2] * mz;

				a = hx;
				b = hy;
				c = atan2f(a,b)* (1800.0f / M_PIf);
        bx = sqrtf(hx * hx + hy * hy);

        // magnetometer error is cross product between estimated magnetic north and measured magnetic north (calculated in EF)
        float ez_ef = -(hy * bx);

        // Rotate mag error vector back to BF and accumulate
        ex += rMat[2][0] * ez_ef;
        ey += rMat[2][1] * ez_ef;
        ez += rMat[2][2] * ez_ef;
    }

    // Use measured acceleration vector
    recipNorm = sq(ax) + sq(ay) + sq(az);
    if (useAcc && (recipNorm > 0.01f)) {
        // Normalise accelerometer measurement
        recipNorm = invSqrt(recipNorm);
        ax *= recipNorm;
        ay *= recipNorm;
        az *= recipNorm;

        // Error is sum of cross product between estimated direction and measured direction of gravity
        ex += (ay * rMat[2][2] - az * rMat[2][1]);
        ey += (az * rMat[2][0] - ax * rMat[2][2]);
        ez += (ax * rMat[2][1] - ay * rMat[2][0]);
    }

    // Apply proportional and integral feedback
    gx += beta * ex;
    gy += beta * ey;
    gz += beta * ez;

    // Integrate rate of change of quaternion
    gx *= (0.5f * dt);
    gy *= (0.5f * dt);
    gz *= (0.5f * dt);

    qa = q0;
    qb = q1;
    qc = q2;
    q0 += (-qb * gx - qc * gy - q3 * gz);
    q1 += (qa * gx + qc * gz - q3 * gy);
    q2 += (qa * gy - qb * gz + q3 * gx);
    q3 += (qa * gz + qb * gy - qc * gx);

    // Normalise quaternion
    recipNorm = invSqrt(sq(q0) + sq(q1) + sq(q2) + sq(q3));
    q0 *= recipNorm;
    q1 *= recipNorm;
    q2 *= recipNorm;
    q3 *= recipNorm;

    // Pre-compute rotation matrix from quaternion
    imuComputeRotationMatrix();

		/* Compute pitch/roll angles */
#ifdef V929
    q_pitch =  -(atan2f(rMat[2][1], rMat[2][2]) * (1800.0f / M_PIf));
    q_roll  =  -(((0.5f * M_PIf) - acosf(-rMat[2][0])) * (1800.0f / M_PIf));
    q_yaw   =  ((atan2f(rMat[1][0], rMat[0][0]) * (1800.0f / M_PIf) + magneticDeclination));
#else
    q_pitch =  (atan2f(rMat[2][1], rMat[2][2]) * (1800.0f / M_PIf));
    q_roll  =  (((0.5f * M_PIf) - acosf(-rMat[2][0])) * (1800.0f / M_PIf));
    q_yaw   =  ((atan2f(rMat[1][0], rMat[0][0]) * (1800.0f / M_PIf) + magneticDeclination));
#endif
		if (q_yaw < 0) q_yaw += 3600;
}
#endif

float constrain(float x, float lower_b, float upper_b)
{
	if(x < lower_b) x = lower_b;
	if(x > upper_b) x = upper_b;
	return x;
}

float sq (float x)
 {
	 return x*x;
 }
void imuComputeRotationMatrix(void)
{
    float q1q1 = sq(q1);
    float q2q2 = sq(q2);
    float q3q3 = sq(q3);

    float q0q1 = q0 * q1;
    float q0q2 = q0 * q2;
    float q0q3 = q0 * q3;
    float q1q2 = q1 * q2;
    float q1q3 = q1 * q3;
    float q2q3 = q2 * q3;

    rMat[0][0] = 1.0f - 2.0f * q2q2 - 2.0f * q3q3;
    rMat[0][1] = 2.0f * (q1q2 + -q0q3);
    rMat[0][2] = 2.0f * (q1q3 - -q0q2);

    rMat[1][0] = 2.0f * (q1q2 - -q0q3);
    rMat[1][1] = 1.0f - 2.0f * q1q1 - 2.0f * q3q3;
    rMat[1][2] = 2.0f * (q2q3 + -q0q1);

    rMat[2][0] = 2.0f * (q1q3 + -q0q2);
    rMat[2][1] = 2.0f * (q2q3 - -q0q1);
    rMat[2][2] = 1.0f - 2.0f * q1q1 - 2.0f * q2q2;
}
float Smooth_filter(float alfa, float new_data, float prev_data)
{
  float output = prev_data + (alfa * (new_data - prev_data));
  return output;
}

float invSqrt(float x)
{
    return 1.0f / sqrtf(x);
}

void fn_I2C_SlaveRxCpltCallback(void){
}
void HAL_I2C_SlaveRxCpltCallback(I2C_HandleTypeDef *hi2c)
{
	debug_2_set;

	I2C_rx_data_index = I2C_rx_data_index + 1;

		if (I2C_rx_data_index >= 7)
		{
			uint8_t command_code = 0xfd ;
			if (I2C_rx_data[I2C_rx_data_index-2] == command_code && I2C_rx_data[I2C_rx_data_index-1] == command_code )
			{
				getRCcommand(I2C_rx_data_index-3);
				I2C_rx_data_index = 0;
			}

			uint8_t command_code2 = 0xfe ;
			if(I2C_rx_data_index >= 22)
			{
				if (I2C_rx_data[I2C_rx_data_index-2] == command_code2 && I2C_rx_data[I2C_rx_data_index-1] == command_code2)
				{
					getPIDgain(I2C_rx_data_index-1);
					I2C_rx_data_index = 0;
				}
			}
		}

	if (I2C_rx_data_index == i2c_buffer_size) I2C_rx_data_index = 0;

	HAL_I2C_Slave_Receive_IT(&hi2c1, (uint8_t*)(I2C_rx_data + I2C_rx_data_index), 1);
	debug_2_reset;

}

void getPIDgain(uint8_t I2C_rx_data_index)
{
	  int16_t Kp_yaw_tmp = (int16_t)I2C_rx_data[I2C_rx_data_index-21]<<8 | (int16_t)I2C_rx_data[I2C_rx_data_index-20];
		int16_t	Ki_yaw_tmp = (int16_t)I2C_rx_data[I2C_rx_data_index-19]<<8 | (int16_t)I2C_rx_data[I2C_rx_data_index-18];
		int16_t	Kd_yaw_tmp = (int16_t)I2C_rx_data[I2C_rx_data_index-17]<<8 | (int16_t)I2C_rx_data[I2C_rx_data_index-16];

		int16_t	Kp_pitch_tmp = (int16_t)I2C_rx_data[I2C_rx_data_index-15]<<8 | (int16_t)I2C_rx_data[I2C_rx_data_index-14];
		int16_t	Ki_pitch_tmp = (int16_t)I2C_rx_data[I2C_rx_data_index-13]<<8 | (int16_t)I2C_rx_data[I2C_rx_data_index-12];
		int16_t	Kd_pitch_tmp = (int16_t)I2C_rx_data[I2C_rx_data_index-11]<<8 | (int16_t)I2C_rx_data[I2C_rx_data_index-10];

		int16_t	Kp_roll_tmp = (int16_t)I2C_rx_data[I2C_rx_data_index-9]<<8 | (int16_t)I2C_rx_data[I2C_rx_data_index-8];
		int16_t	Ki_roll_tmp = (int16_t)I2C_rx_data[I2C_rx_data_index-7]<<8 | (int16_t)I2C_rx_data[I2C_rx_data_index-6];
		int16_t	Kd_roll_tmp = (int16_t)I2C_rx_data[I2C_rx_data_index-5]<<8 | (int16_t)I2C_rx_data[I2C_rx_data_index-4];
		int16_t sum = (int16_t)Kp_roll_tmp + (int16_t)Ki_roll_tmp + (int16_t)Kd_roll_tmp + (int16_t)Kp_pitch_tmp + (int16_t)Ki_pitch_tmp + (int16_t)Kd_pitch_tmp + (int16_t)Kp_yaw_tmp + (int16_t)Ki_yaw_tmp + (int16_t)Kd_yaw_tmp;
		int16_t	checksum_buffer =(((int16_t)I2C_rx_data[I2C_rx_data_index-3])<<8 | (int16_t)I2C_rx_data[I2C_rx_data_index-2]);

	if (checksum_buffer == sum)
	{
		Kp_roll = (float)Kp_roll_tmp * 0.025f;
		Ki_roll = (float)Ki_roll_tmp * 0.025f;
		Kd_roll = (float)Kd_roll_tmp * 0.025f;

		Kp_pitch = (float)Kp_pitch_tmp * 0.025f;
		Ki_pitch = (float)Ki_pitch_tmp * 0.025f;
		Kd_pitch = (float)Kd_pitch_tmp * 0.025f;

		Kp_yaw = (float)Kp_yaw_tmp * 0.025f;
		Ki_yaw = (float)Ki_yaw_tmp * 0.025f;
		Kd_yaw = (float)Kd_yaw_tmp * 0.025f;

		Flag_setPID_gain_success = 1;

	}else{

		Flag_setPID_gain_success = 0;

	}

}

void getRCcommand(uint8_t I2C_rx_data_index)
{

	int8_t	roll_tmp     = (int8_t)I2C_rx_data[I2C_rx_data_index-4];
	int8_t	pitch_tmp    = (int8_t)I2C_rx_data[I2C_rx_data_index-3];
	int8_t	throttle_tmp = (int8_t)I2C_rx_data[I2C_rx_data_index-2];
	int8_t	yaw_tmp      = (int8_t)I2C_rx_data[I2C_rx_data_index-1];
	int8_t	sum_tmp      = (int8_t)I2C_rx_data[I2C_rx_data_index];
	int8_t	sum  = roll_tmp + pitch_tmp + throttle_tmp + yaw_tmp;

	if ((int8_t)sum_tmp == (int8_t)sum)
	{
		ch1 = roll_tmp;
		ch2 = pitch_tmp;
		ch3 = throttle_tmp;
		ch4 = yaw_tmp;
		watchdog = 200;

	}
}

void readCommand (void)
{
	if (I2C_rx_data_index >= 6)
	{
		for (uint8_t count = I2C_rx_data_index ; count >= 6 ; count--)
		{
			uint8_t command_code = 0xfd ;
			if (I2C_rx_data[count-1] == command_code && I2C_rx_data[count] == command_code )
			{
				getRCcommand(count);
				I2C_rx_data_index = 0;
				break;
			}
			uint8_t command_code2 = 0xfe ;
			if(count >= 21)
			{
				if (I2C_rx_data[count-1] == command_code2 && I2C_rx_data[count] == command_code2)
				{
					getPIDgain(count);
					I2C_rx_data_index = 0;
					break;
				}
			}
		}
	}
}
/* USER CODE END 4 */

/************************ (C) COPYRIGHT STMicroelectronics *****END OF FILE****/
